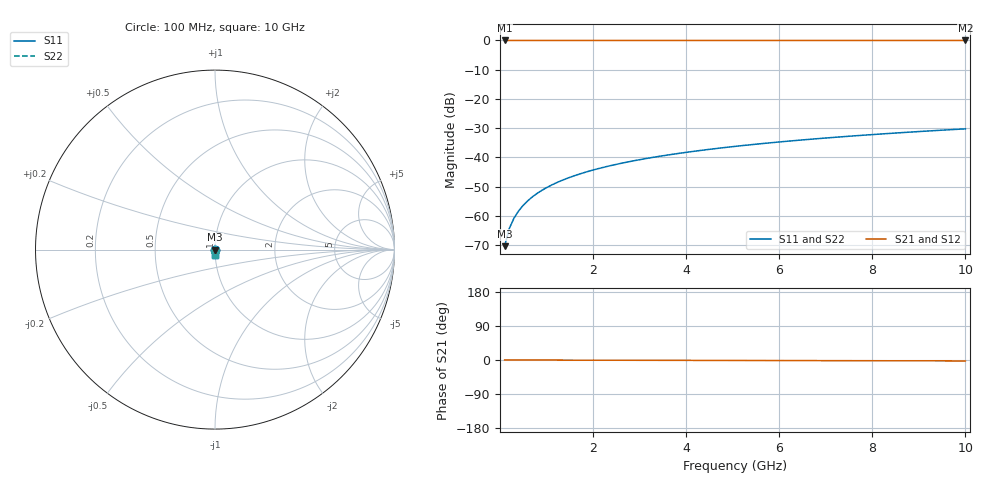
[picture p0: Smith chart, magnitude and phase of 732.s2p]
# Hz S RI R 50.00
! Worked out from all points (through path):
!   100 points, 100 MHz to 10 GHz, reference 50 ohm
!   highest |S21| = 0.00 dB at 100 MHz (marker M1); lowest = 0.0 dB at 10 GHz (marker M2)
!   lowest |S11| = -70.3 dB at 100 MHz (marker M3), VSWR 1.00, Z = 50 - j0.0304 ohm
!   |S11| at or under -10 dB: start of sweep to end of sweep
!   |S22| runs from -70.3 to -30.2 dB; largest |S21 - S12| = 0
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1e8  1.62e-05 -0.000304  1 -0.000418  1 -0.000418  1.62e-05 -0.000304
2e8  1.56e-05 -0.000609  1 -0.000837  1 -0.000837  1.56e-05 -0.000609
3e8  1.47e-05 -0.000913  1 -0.00125  1 -0.00125  1.47e-05 -0.000913
4e8  1.35e-05 -0.00122  1 -0.00167  1 -0.00167  1.35e-05 -0.00122
5e8  1.21e-05 -0.00152  1 -0.00209  1 -0.00209  1.21e-05 -0.00152
6e8  1.04e-05 -0.00183  1 -0.00251  1 -0.00251  1.04e-05 -0.00183
7e8  8.43e-06 -0.00213  1 -0.00293  1 -0.00293  8.43e-06 -0.00213
8e8  6.22e-06 -0.00244  1 -0.00335  1 -0.00335  6.22e-06 -0.00244
9e8  3.74e-06 -0.00274  1 -0.00377  1 -0.00377  3.74e-06 -0.00274
1.1e9  -1.98e-06 -0.00335  1 -0.0046  1 -0.0046  -1.98e-06 -0.00335
1.4e9  -1.25e-05 -0.00426  1 -0.00586  1 -0.00586  -1.25e-05 -0.00426
1.8e9  -3.01e-05 -0.00549  0.9999 -0.00754  0.9999 -0.00754  -3.01e-05 -0.00549
2.1e9  -4.61e-05 -0.0064  0.9999 -0.0088  0.9999 -0.0088  -4.61e-05 -0.0064
2.5e9  -7.1e-05 -0.00763  0.9999 -0.0105  0.9999 -0.0105  -7.1e-05 -0.00763
2.9e9  -0.0001 -0.00885  0.9999 -0.0122  0.9999 -0.0122  -0.0001 -0.00885
3.4e9  -0.000142 -0.0104  0.9998 -0.0143  0.9998 -0.0143  -0.000142 -0.0104
4.2e9  -0.000223 -0.0128  0.9997 -0.0176  0.9997 -0.0176  -0.000223 -0.0128
5.1e9  -0.000335 -0.0156  0.9996 -0.0215  0.9996 -0.0215  -0.000335 -0.0156
5.9e9  -0.000452 -0.0181  0.9995 -0.0249  0.9995 -0.0249  -0.000452 -0.0181
6.7e9  -0.000586 -0.0206  0.9993 -0.0283  0.9993 -0.0283  -0.000586 -0.0206
8.4e9  -0.000929 -0.0258  0.999 -0.0355  0.999 -0.0355  -0.000929 -0.0258
1e10  -0.00132 -0.0308  0.9986 -0.0424  0.9986 -0.0424  -0.00132 -0.0308
